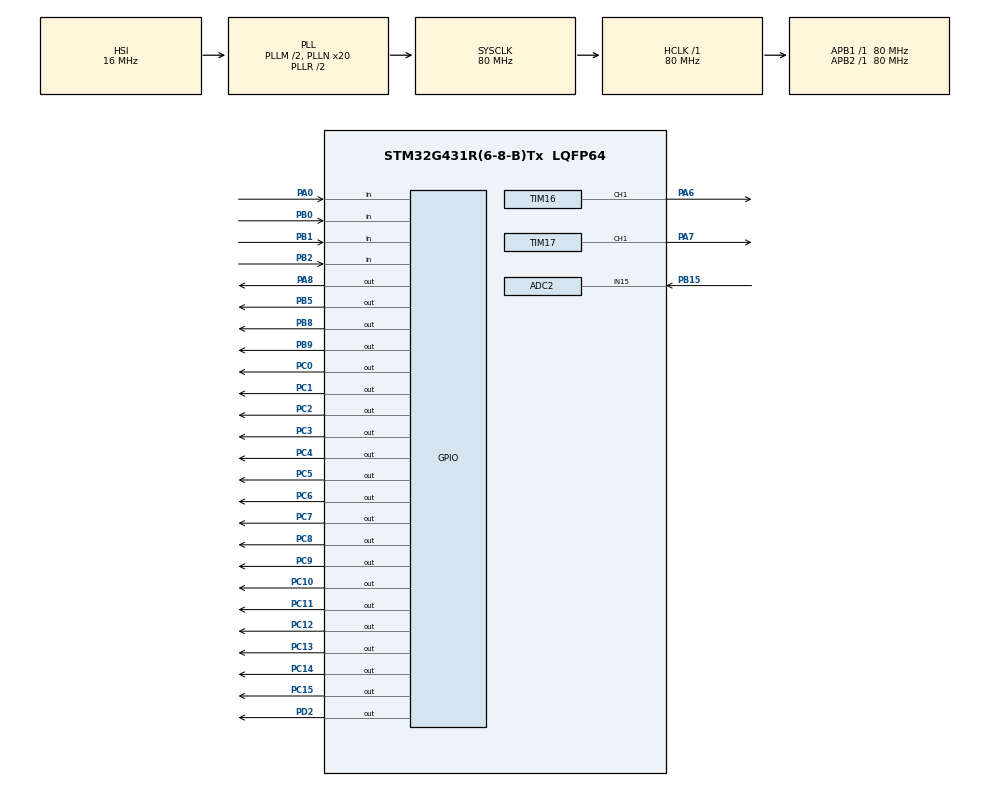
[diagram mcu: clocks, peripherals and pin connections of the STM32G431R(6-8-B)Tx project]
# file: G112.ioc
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ADC2.Channel-0\#ChannelRegularConversion=ADC_CHANNEL_15
ADC2.NbrOfConversionFlag=1
ADC2.OffsetNumber-0\#ChannelRegularConversion=ADC_OFFSET_NONE
ADC2.Rank-0\#ChannelRegularConversion=1
ADC2.SamplingTime-0\#ChannelRegularConversion=ADC_SAMPLETIME_640CYCLES_5
Mcu.Family=STM32G4
Mcu.Name=STM32G431R(6-8-B)Tx
Mcu.Package=LQFP64
NVIC.PriorityGroup=NVIC_PRIORITYGROUP_4
PA0.Signal=GPIO_Input
PA6.Signal=S_TIM16_CH1
PA7.Signal=S_TIM17_CH1
PA8.Signal=GPIO_Output
PB0.Signal=GPIO_Input
PB1.Signal=GPIO_Input
PB15.Mode=IN15-Single-Ended
PB15.Signal=ADC2_IN15
PB2.Signal=GPIO_Input
PB5.Signal=GPIO_Output
PB8-BOOT0.Signal=GPIO_Output
PB9.Signal=GPIO_Output
PC0.Signal=GPIO_Output
PC1.Signal=GPIO_Output
PC10.Signal=GPIO_Output
PC11.Signal=GPIO_Output
PC12.Signal=GPIO_Output
PC13.Signal=GPIO_Output
PC14-OSC32_IN.Signal=GPIO_Output
PC15-OSC32_OUT.Signal=GPIO_Output
PC2.Signal=GPIO_Output
PC3.Signal=GPIO_Output
PC4.Signal=GPIO_Output
PC5.Signal=GPIO_Output
PC6.Signal=GPIO_Output
PC7.Signal=GPIO_Output
PC8.Signal=GPIO_Output
PC9.Signal=GPIO_Output
PD2.Signal=GPIO_Output
PF0-OSC_IN.Mode=HSE-External-Oscillator
PF0-OSC_IN.Signal=RCC_OSC_IN
PF1-OSC_OUT.Mode=HSE-External-Oscillator
PF1-OSC_OUT.Signal=RCC_OSC_OUT
ProjectManager.HeapSize=0x200
ProjectManager.StackSize=0x400
ProjectManager.TargetToolchain=MDK-ARM V5
RCC.ADC12Freq_Value=80000000
RCC.AHBFreq_Value=80000000
RCC.APB1Freq_Value=80000000
RCC.APB1TimFreq_Value=80000000
RCC.APB2Freq_Value=80000000
RCC.APB2TimFreq_Value=80000000
RCC.CortexFreq_Value=80000000
RCC.EXTERNAL_CLOCK_VALUE=12288000
RCC.HCLKFreq_Value=80000000
RCC.HSE_VALUE=24000000
RCC.HSI48_VALUE=48000000
RCC.HSI_VALUE=16000000
RCC.LSE_VALUE=32768
RCC.PLLM=RCC_PLLM_DIV2
RCC.PLLN=20
RCC.SYSCLKFreq_VALUE=80000000
RCC.SYSCLKSource=RCC_SYSCLKSOURCE_PLLCLK
RCC.USBFreq_Value=80000000
RCC.VCOOutputFreq_Value=160000000
SH.S_TIM16_CH1.0=TIM16_CH1,PWM Generation1 CH1
SH.S_TIM17_CH1.0=TIM17_CH1,PWM Generation1 CH1
TIM16.AutoReloadPreload=TIM_AUTORELOAD_PRELOAD_ENABLE
TIM16.Channel=TIM_CHANNEL_1
TIM16.PeriodNoDither=9999
TIM16.Prescaler=79
TIM16.PulseNoDither_1=5000
TIM17.AutoReloadPreload=TIM_AUTORELOAD_PRELOAD_ENABLE
TIM17.Channel=TIM_CHANNEL_1
TIM17.PeriodNoDither=4999
TIM17.Prescaler=79
TIM17.PulseNoDither_1=2500
VP_SYS_VS_DBSignals.Mode=DisableDeadBatterySignals
VP_TIM16_VS_ClockSourceINT.Mode=Enable_Timer
VP_TIM17_VS_ClockSourceINT.Mode=Enable_Timer
board=custom

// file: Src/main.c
/* USER CODE BEGIN Header */
/**
  ******************************************************************************
  * @file           : main.c
  * @brief          : Main program body
  ******************************************************************************
  * @attention
  *
  * <h2><center>&copy; Copyright (c) 2021 STMicroelectronics.
  * All rights reserved.</center></h2>
  *
  * This software component is licensed by ST under BSD 3-Clause license,
  * the "License"; You may not use this file except in compliance with the
  * License. You may obtain a copy of the License at:
  *                        opensource.org/licenses/BSD-3-Clause
  *
  ******************************************************************************
  */
/* USER CODE END Header */

#include "main.h"
#include "adc.h"
#include "tim.h"
#include "gpio.h"

/* USER CODE BEGIN Includes */
#include "led.h"
#include "key.h"
#include "stdio.h"

/* USER CODE END Includes */

void SystemClock_Config(void);

/* USER CODE BEGIN 0 */

#define Display_Data 0
#define Display_Para 1
u8 Display_Mode = 0;

//1

u8 mode_chose = 0; //0自动，1手动

//2
double PA6_d = 0.8;
double PA7_d = 0.1;

//KEY
uint32_t keyTick = 0;
void Key_Process(void)
{
	if(uwTick - keyTick < 20) return;
	keyTick = uwTick;

	Key_Read();

	if(Trg & 0x01)
	{
		LCD_Clear(Black);
		Display_Mode = (Display_Mode + 1)%2;
	}

	if(Trg & 0x02)
	{
		if(Display_Mode == Display_Para)
		{
//			if(PA6_d <= 0.8)
//			PA6_d += 0.1;
//			else
//				PA6_d = 0.1;
			 PA6_d +=0.1;
			if(PA6_d > 0.91) //   PA6_d >=  1.00000001,后面的数大一些
				PA6_d = 0.1;
		}
	}

	if(Trg & 0x04)
	{
		if(Display_Mode == Display_Para)
		{
			PA7_d += 0.1;
			if(PA7_d > 0.91)
				PA7_d = 0.1;
		}
	}

	if(Trg & 0x08)
	{
		if(Display_Mode == Display_Data)
		{
			mode_chose = (mode_chose + 1)%2;
		}
	}
}

//PWM

//ADC

u32 adc_val;
double r37_v;
void ADC_Process(void)
{
	HAL_ADC_Start(&hadc2);
	adc_val = HAL_ADC_GetValue(&hadc2);
	r37_v = adc_val / 4095.0f * 3.3f;
}

double D;
void PWM_Process(void)
{
	TIM16->ARR = 9999;
	TIM17->ARR = 4999;

	if(mode_chose == 0)
	{
		D = r37_v / 3.3;

		TIM16->CCR1 = (TIM16->ARR + 1) * D;
		TIM17->CCR1 = (TIM17->ARR + 1) * D;
	}
	else
	{
		TIM16->CCR1 = (TIM16->ARR + 1) * PA6_d;
		TIM17->CCR1 = (TIM17->ARR + 1) * PA7_d;
	}
}

//LED
u8 led_ctrl = 0x00;
void LED_Process(void)
{
	if(mode_chose == 0)
		led_ctrl |= 0x01;
	else
		led_ctrl &=~0x01;

	if(Display_Mode == Display_Data)
		led_ctrl |=0x02;
	else if(Display_Mode == Display_Para)
		led_ctrl &=~0x02;

	Led_Control(led_ctrl);
}

//LCD
uint32_t lcdTick = 0;
void LCD_Process(void)
{
	if(uwTick - lcdTick < 100) return;
	lcdTick = uwTick;

	u8 display_buf[30];

	if(Display_Mode == Display_Data)
	{
		sprintf((char *)display_buf,"      Data");
		LCD_DisplayStringLine(Line0,display_buf);

		sprintf((char *)display_buf,"    V:%4.2fV",r37_v);
		LCD_DisplayStringLine(Line2,display_buf);

		if(mode_chose == 0)
		sprintf((char *)display_buf,"    Mode:AUTO");
		else
		sprintf((char *)display_buf,"    Mode:MANU");
		LCD_DisplayStringLine(Line3,display_buf);
	}

	if(Display_Mode == Display_Para)
	{
		sprintf((char *)display_buf,"      Para");
		LCD_DisplayStringLine(Line0,display_buf);

		sprintf((char *)display_buf,"    PA6:%2.0f%%",PA6_d*100);
		LCD_DisplayStringLine(Line2,display_buf);
		sprintf((char *)display_buf,"    PA7:%2.0f%% ",PA7_d*100);
		LCD_DisplayStringLine(Line3,display_buf);
	}

}

/* USER CODE END 0 */

int main(void)
{

  /* MCU Configuration--------------------------------------------------------*/

  /* Reset of all peripherals, Initializes the Flash interface and the Systick. */
  HAL_Init();

  /* Configure the system clock */
  SystemClock_Config();

  /* Initialize all configured peripherals */
  MX_GPIO_Init();
  MX_ADC2_Init();
  MX_TIM16_Init();
  MX_TIM17_Init();
  /* USER CODE BEGIN 2 */

    LCD_Init();

		//PWM
		HAL_TIM_PWM_Start(&htim16,TIM_CHANNEL_1);
		HAL_TIM_PWM_Start(&htim17,TIM_CHANNEL_1);

  /* USER CODE END 2 */

  /* Infinite loop */
  /* USER CODE BEGIN WHILE */

    LCD_Clear(Black);
    LCD_SetBackColor(Black);
    LCD_SetTextColor(White);

//    LCD_DrawLine(120, 0, 320, Horizontal);
//    LCD_DrawLine(0, 160, 240, Vertical);
//    HAL_Delay(1000);
//    LCD_Clear(Blue);

//    LCD_DrawRect(70, 210, 100, 100);
//    HAL_Delay(1000);
//    LCD_Clear(Blue);

//    LCD_DrawCircle(120, 160, 50);
//    HAL_Delay(1000);

//    LCD_Clear(Blue);
//    LCD_DisplayStringLine(Line4, (unsigned char *)"    Hello,world.   ");
//    HAL_Delay(1000);

//    LCD_SetBackColor(White);
//    LCD_DisplayStringLine(Line0, (unsigned char *)"                    ");
//    LCD_SetBackColor(Black);
//    LCD_DisplayStringLine(Line1, (unsigned char *)"                    ");
//    LCD_SetBackColor(Grey);
//    LCD_DisplayStringLine(Line2, (unsigned char *)"                    ");
//    LCD_SetBackColor(Blue);
//    LCD_DisplayStringLine(Line3, (unsigned char *)"                    ");
//    LCD_SetBackColor(Blue2);
//    LCD_DisplayStringLine(Line4, (unsigned char *)"                    ");
//    LCD_SetBackColor(Red);
//    LCD_DisplayStringLine(Line5, (unsigned char *)"                    ");
//    LCD_SetBackColor(Magenta);
//    LCD_DisplayStringLine(Line6, (unsigned char *)"                    ");
//    LCD_SetBackColor(Green);
//    LCD_DisplayStringLine(Line7, (unsigned char *)"                    ");
//    LCD_SetBackColor(Cyan);
//    LCD_DisplayStringLine(Line8, (unsigned char *)"                    ");
//    LCD_SetBackColor(Yellow);
//    LCD_DisplayStringLine(Line9, (unsigned char *)"                    ");
		Led_Control(0x00);
    while (1)
    {
    /* USER CODE END WHILE */
    /* USER CODE BEGIN 3 */
			Key_Process();
			PWM_Process();
			ADC_Process();
			LCD_Process();
			LED_Process();

    }
  /* USER CODE END 3 */
}

void SystemClock_Config(void)
{
  RCC_OscInitTypeDef RCC_OscInitStruct = {0};
  RCC_ClkInitTypeDef RCC_ClkInitStruct = {0};
  RCC_PeriphCLKInitTypeDef PeriphClkInit = {0};

  /** Configure the main internal regulator output voltage
  */
  HAL_PWREx_ControlVoltageScaling(PWR_REGULATOR_VOLTAGE_SCALE1);
  /** Initializes the CPU, AHB and APB busses clocks
  */
  RCC_OscInitStruct.OscillatorType = RCC_OSCILLATORTYPE_HSI;
  RCC_OscInitStruct.HSIState = RCC_HSI_ON;
  RCC_OscInitStruct.HSICalibrationValue = RCC_HSICALIBRATION_DEFAULT;
  RCC_OscInitStruct.PLL.PLLState = RCC_PLL_ON;
  RCC_OscInitStruct.PLL.PLLSource = RCC_PLLSOURCE_HSI;
  RCC_OscInitStruct.PLL.PLLM = RCC_PLLM_DIV2;
  RCC_OscInitStruct.PLL.PLLN = 20;
  RCC_OscInitStruct.PLL.PLLP = RCC_PLLP_DIV2;
  RCC_OscInitStruct.PLL.PLLQ = RCC_PLLQ_DIV2;
  RCC_OscInitStruct.PLL.PLLR = RCC_PLLR_DIV2;
  if (HAL_RCC_OscConfig(&RCC_OscInitStruct) != HAL_OK)
  {
    Error_Handler();
  }
  /** Initializes the CPU, AHB and APB busses clocks
  */
  RCC_ClkInitStruct.ClockType = RCC_CLOCKTYPE_HCLK|RCC_CLOCKTYPE_SYSCLK
                              |RCC_CLOCKTYPE_PCLK1|RCC_CLOCKTYPE_PCLK2;
  RCC_ClkInitStruct.SYSCLKSource = RCC_SYSCLKSOURCE_PLLCLK;
  RCC_ClkInitStruct.AHBCLKDivider = RCC_SYSCLK_DIV1;
  RCC_ClkInitStruct.APB1CLKDivider = RCC_HCLK_DIV1;
  RCC_ClkInitStruct.APB2CLKDivider = RCC_HCLK_DIV1;

  if (HAL_RCC_ClockConfig(&RCC_ClkInitStruct, FLASH_LATENCY_3) != HAL_OK)
  {
    Error_Handler();
  }
  /** Initializes the peripherals clocks
  */
  PeriphClkInit.PeriphClockSelection = RCC_PERIPHCLK_ADC12;
  PeriphClkInit.Adc12ClockSelection = RCC_ADC12CLKSOURCE_SYSCLK;
  if (HAL_RCCEx_PeriphCLKConfig(&PeriphClkInit) != HAL_OK)
  {
    Error_Handler();
  }
}

void Error_Handler(void)
{
}

/************************ (C) COPYRIGHT STMicroelectronics *****END OF FILE****/
